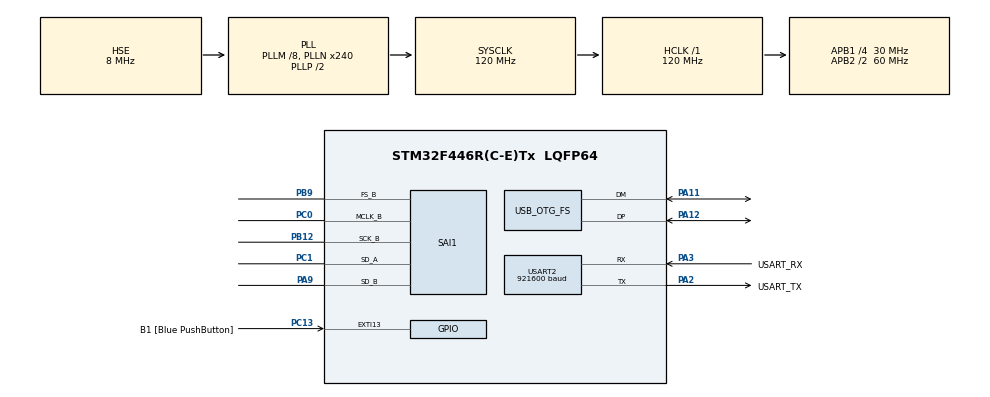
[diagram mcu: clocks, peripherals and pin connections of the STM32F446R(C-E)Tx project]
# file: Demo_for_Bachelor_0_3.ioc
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Dma.Request0=SAI1_A
Dma.Request1=SAI1_B
Dma.SAI1_A.0.Direction=DMA_PERIPH_TO_MEMORY
Dma.SAI1_A.0.FIFOMode=DMA_FIFOMODE_DISABLE
Dma.SAI1_A.0.Instance=DMA2_Stream1
Dma.SAI1_A.0.MemDataAlignment=DMA_MDATAALIGN_HALFWORD
Dma.SAI1_A.0.MemInc=DMA_MINC_ENABLE
Dma.SAI1_A.0.Mode=DMA_CIRCULAR
Dma.SAI1_A.0.PeriphDataAlignment=DMA_PDATAALIGN_HALFWORD
Dma.SAI1_A.0.PeriphInc=DMA_PINC_DISABLE
Dma.SAI1_A.0.Priority=DMA_PRIORITY_LOW
Dma.SAI1_B.1.Direction=DMA_PERIPH_TO_MEMORY
Dma.SAI1_B.1.FIFOMode=DMA_FIFOMODE_DISABLE
Dma.SAI1_B.1.Instance=DMA2_Stream4
Dma.SAI1_B.1.MemDataAlignment=DMA_MDATAALIGN_HALFWORD
Dma.SAI1_B.1.MemInc=DMA_MINC_ENABLE
Dma.SAI1_B.1.Mode=DMA_CIRCULAR
Dma.SAI1_B.1.PeriphDataAlignment=DMA_PDATAALIGN_HALFWORD
Dma.SAI1_B.1.PeriphInc=DMA_PINC_DISABLE
Dma.SAI1_B.1.Priority=DMA_PRIORITY_LOW
Mcu.Family=STM32F4
Mcu.Name=STM32F446R(C-E)Tx
Mcu.Package=LQFP64
NVIC.DMA2_Stream1_IRQn=true\:0\:0\:false\:false\:true\:false\:true\:true
NVIC.DMA2_Stream4_IRQn=true\:0\:0\:false\:false\:true\:false\:true\:true
NVIC.OTG_FS_IRQn=true\:0\:0\:false\:false\:true\:true\:true\:true
NVIC.PriorityGroup=NVIC_PRIORITYGROUP_0
PA11.Mode=Device_Only
PA11.Signal=USB_OTG_FS_DM
PA12.Mode=Device_Only
PA12.Signal=USB_OTG_FS_DP
PA13.GPIO_Label=TMS
PA13.Mode=Serial_Wire
PA13.Signal=SYS_JTMS-SWDIO
PA14.GPIO_Label=TCK
PA14.Mode=Serial_Wire
PA14.Signal=SYS_JTCK-SWCLK
PA2.GPIO_Label=USART_TX
PA2.Mode=Asynchronous
PA2.Signal=USART2_TX
PA3.GPIO_Label=USART_RX
PA3.Mode=Asynchronous
PA3.Signal=USART2_RX
PA9.Mode=SAI_B_MasterWithClock
PA9.Signal=SAI1_SD_B
PB12.Mode=SAI_B_MasterWithClock
PB12.Signal=SAI1_SCK_B
PB3.GPIO_Label=SWO
PB3.Signal=SYS_JTDO-SWO
PB9.Mode=SAI_B_MasterWithClock
PB9.Signal=SAI1_FS_B
PC0.Mode=SAI_B_MasterWithClock
PC0.Signal=SAI1_MCLK_B
PC1.Mode=SAI_A_SyncSlave
PC1.Signal=SAI1_SD_A
PC13.GPIO_Label=B1 [Blue PushButton]
PC13.GPIO_ModeDefaultEXTI=GPIO_MODE_IT_FALLING
PC13.Signal=GPXTI13
PC14-OSC32_IN.Signal=RCC_OSC32_IN
PC15-OSC32_OUT.Signal=RCC_OSC32_OUT
PDM2PCM.CHANNEL1_bit_order=PDM_FILTER_BIT_ORDER_MSB
PDM2PCM.CHANNEL1_in_ptr_channels=1
PDM2PCM.CHANNEL1_out_ptr_channels=1
PDM2PCM.NbCHANNEL=1
PH0-OSC_IN.Mode=HSE-External-Clock-Source
PH0-OSC_IN.Signal=RCC_OSC_IN
PH1-OSC_OUT.Mode=HSE-External-Clock-Source
PH1-OSC_OUT.Signal=RCC_OSC_OUT
ProjectManager.HeapSize=0x200
ProjectManager.StackSize=0x400
ProjectManager.TargetToolchain=STM32CubeIDE
RCC.48MHZClocksFreq_Value=84000000
RCC.AHBFreq_Value=120000000
RCC.APB1CLKDivider=RCC_HCLK_DIV4
RCC.APB1Freq_Value=30000000
RCC.APB1TimFreq_Value=60000000
RCC.APB2CLKDivider=RCC_HCLK_DIV2
RCC.APB2Freq_Value=60000000
RCC.APB2TimFreq_Value=120000000
RCC.CortexFreq_Value=120000000
RCC.FLatency-AdvancedSettings=FLASH_LATENCY_3
RCC.HCLKFreq_Value=120000000
RCC.HSE_VALUE=8000000
RCC.HSI_VALUE=16000000
RCC.PLLM=8
RCC.PLLN=240
RCC.PLLQ=5
RCC.PLLSAIM=8
RCC.SYSCLKFreq_VALUE=120000000
RCC.SYSCLKSource=RCC_SYSCLKSOURCE_PLLCLK
RCC.USBFreq_Value=48000000
RCC.VCOOutputFreq_Value=240000000
SAI1.AudioMode-SAI_B_MasterWithClock=SAI_MODEMASTER_RX
SAI1.ClockStrobing-SAI_B_MasterWithClock=SAI_CLOCKSTROBING_FALLINGEDGE
SAI1.ErrorAudioFreq-SAI_B_MasterWithClock=-2.34 %
SAI1.FrameLength-SAI_A_SyncSlave=16
SAI1.FrameLength-SAI_B_MasterWithClock=16
SAI1.Instance-SAI_A_SyncSlave=SAI$Index_Block_A
SAI1.Instance-SAI_B_MasterWithClock=SAI$Index_Block_B
SAI1.MClockEnable-SAI_B_MasterWithClock=SAI_MASTERCLOCK_ENABLE
SAI1.RealAudioFreq-SAI_B_MasterWithClock=187.5 KHz
SAI1.SlotActive-SAI_A_SyncSlave=0x00000003
SAI1.SlotActive-SAI_B_MasterWithClock=0x00000003
SAI1.SlotNumber-SAI_A_SyncSlave=2
SAI1.SlotNumber-SAI_B_MasterWithClock=2
SAI1.VirtualMode-SAI_A_SyncSlave=VM_SLAVE
SAI1.VirtualMode-SAI_B_MasterWithClock=VM_MASTER
SAI1.VirtualSlotActive-SAI_A_SyncSlave=SAI_SLOT_USERSETTING
SAI1.VirtualSlotActive-SAI_B_MasterWithClock=SAI_SLOT_USERSETTING
SAI1.VirtualSlotActive0-SAI_A_SyncSlave=true
SAI1.VirtualSlotActive0-SAI_B_MasterWithClock=true
SAI1.VirtualSlotActive1-SAI_A_SyncSlave=true
SAI1.VirtualSlotActive1-SAI_B_MasterWithClock=true
USART2.BaudRate=921600
USART2.VirtualMode=VM_ASYNC
USB_DEVICE.CLASS_NAME_FS=CDC
USB_DEVICE.VirtualMode-CDC_FS=Cdc
USB_DEVICE.VirtualModeFS=Cdc_FS
USB_OTG_FS.VirtualMode=Device_Only
VP_CRC_VS_CRC.Mode=CRC_Activate
VP_PDM2PCM_VS_PDM2PCM.Mode=PDM2PCM_Channel
VP_USB_DEVICE_VS_USB_DEVICE_CDC_FS.Mode=CDC_FS
board=NUCLEO-F446RE

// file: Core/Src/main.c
/* USER CODE BEGIN Header */
/**
  ******************************************************************************
  * @file           : main.c
  * @brief          : Main program body
  ******************************************************************************
  * @attention
  *
  * Copyright (c) 2026 STMicroelectronics.
  * All rights reserved.
  *
  * This software is licensed under terms that can be found in the LICENSE file
  * in the root directory of this software component.
  * If no LICENSE file comes with this software, it is provided AS-IS.
  *
  ******************************************************************************
  */
/* USER CODE END Header */
#include "main.h"
#include "pdm2pcm.h"
#include "usb_device.h"

/* USER CODE BEGIN Includes */
#include <string.h>
#include "usbd_cdc_if.h"

//#include "pdm2pcm_glo.h"
/* USER CODE END Includes */

/* USER CODE BEGIN PD */
//#define PDM_BUF_LEN 64 // allocates a buffer in RAM of 256 elemetns of type uint16_t (16-bit per element)
#define OUTPUT_SAMPLES 16 // also for usb
#define PDM_DMA_BYTES 256
#define USB_CHANNELS 4 // change to 4 or 6 later. Depend on the number of mics
//#define PDM_RX_WORDS 128 // must match pdmRxBuf[128] used for UART
/* USER CODE END PD */

CRC_HandleTypeDef hcrc;

SAI_HandleTypeDef hsai_BlockA1;
SAI_HandleTypeDef hsai_BlockB1;
DMA_HandleTypeDef hdma_sai1_a;
DMA_HandleTypeDef hdma_sai1_b;

UART_HandleTypeDef huart2;

/* USER CODE BEGIN PV */

/*
uint8_t pdm_buf[PDM_BUF_LEN];
int16_t pcm_buf_half[OUTPUT_SAMPLES];
int16_t pcm_buf_full[OUTPUT_SAMPLES];
volatile uint8_t pdm_half_ready = 0; // has to use volatilebecause the variable can change at any time outside of the codes control
volatile uint8_t pdm_full_ready = 0;
uint16_t sync = 0xA55A; // marks start of a sequence 5A A5, little endinan, least sig first, Ax16^3 + 5x16^2 + 5x16^1 + Ax16^0 so 5A A5, for msb A5 5A
*/

//volatile uint8_t sai_rxstate = 0;   // 1 = half, 2 = full
//volatile uint8_t sai_pdm12_rxstate = 0;
//volatile uint8_t sai_pdm34_rxstate = 0;
volatile uint8_t sai_pdm12_half_ready = 0;
volatile uint8_t sai_pdm12_full_ready = 0;
volatile uint8_t sai_pdm34_half_ready = 0;
volatile uint8_t sai_pdm34_full_ready = 0;
extern uint8_t CDC_Ready;

//extern volatile uint32_t usb_ok, usb_busy, usb_fail;
volatile uint32_t usb_ok = 0, usb_busy = 0, usb_fail = 0;
//extern PDM_Filter_Handler_t PDM1_filter_handler;
//extern PDM_Filter_Handler_t PDM2_filter_handler;
//extern PDM_Filter_Handler_t PDM3_filter_handler;
//extern PDM_Filter_Handler_t PDM4_filter_handler;

uint16_t pdm12_buf[PDM_DMA_BYTES * 2];   // mics 1,2 // 512 bytes
uint16_t pdm34_buf[PDM_DMA_BYTES * 2];   // mics 3,4
int16_t pcm1[OUTPUT_SAMPLES];
int16_t pcm2[OUTPUT_SAMPLES];
int16_t pcm3[OUTPUT_SAMPLES];
int16_t pcm4[OUTPUT_SAMPLES];
int16_t pcm12[OUTPUT_SAMPLES * 2]; // mic1,2
int16_t pcm34[OUTPUT_SAMPLES * 2]; // mic3,4

//uint16_t txBuf[128];
//uint8_t pdmRxBuf[PDM_DMA_BYTES];
int16_t MidBuffer[16];
//uint8_t txstate = 0;
//uint8_t rxstate = 0;

uint16_t fifobuf[256];
uint8_t fifo_w_ptr = 0;
uint8_t fifo_r_ptr = 0;
uint8_t fifo_read_enabled = 0;
uint8_t usb_tx_buff[2 + OUTPUT_SAMPLES * USB_CHANNELS * 2]; // give an explenation

void FifoWrite(uint16_t data){
	fifobuf[fifo_w_ptr] = data;
	fifo_w_ptr++;
}

uint16_t FifoRead(){
	uint16_t val = fifobuf[fifo_r_ptr];
	fifo_r_ptr++;
	return val;
}
/* USER CODE END PV */

void SystemClock_Config(void);
void PeriphCommonClock_Config(void);
static void MX_GPIO_Init(void);
static void MX_DMA_Init(void);
static void MX_USART2_UART_Init(void);
static void MX_CRC_Init(void);
static void MX_SAI1_Init(void);

/* USER CODE BEGIN 0 */
void USB_Send_PCM_4CH(int16_t *ch1, int16_t *ch2, int16_t *ch3, int16_t *ch4, uint16_t n) //, int16_t *ch3, int16_t *ch4
{
    uint16_t sync = 0xA55A;
    uint16_t idx = 0;

    //HAL_UART_Transmit(&huart2, (uint8_t *)&sync, 2, HAL_MAX_DELAY);
    memcpy(&usb_tx_buff[idx], &sync, 2);
    idx += 2;

    for (uint16_t i = 0; i < n; i++){
    //HAL_UART_Transmit(&huart2, (uint8_t *)&ch1[i], 2, HAL_MAX_DELAY);
    //HAL_UART_Transmit(&huart2, (uint8_t *)&ch2[i], 2, HAL_MAX_DELAY);
    	memcpy(&usb_tx_buff[idx], &ch1[i], 2); // number of bytes = 2, due to the output sample being 16 bit = 2 bytes
    	idx += 2;
    	memcpy(&usb_tx_buff[idx], &ch2[i], 2);
    	idx += 2;
    	memcpy(&usb_tx_buff[idx], &ch3[i], 2);
    	idx += 2;
    	memcpy(&usb_tx_buff[idx], &ch4[i], 2);
    	idx += 2;

    }
    uint8_t r = CDC_Transmit_FS(usb_tx_buff, idx);
    if (r == USBD_OK) {
        usb_ok++;
    } else if (r == USBD_BUSY) {
        usb_busy++;
    } else {
        usb_fail++;
    }
}

// CHANGE THE 4CH as well after checking the 2 ch !!, and add 6 and 8 channel aswell
/*
void UART_Send_PCM_4CH(int16_t *ch1, int16_t *ch2, int16_t *ch3, int16_t *ch4, uint16_t n){
	uint16_t sync = 0xA55A;

	HAL_UART_Transmit(&huart2, (uint8_t *)&sync, 2, HAL_MAX_DELAY);
	for (uint16_t i = 0; i < n; i++){
		HAL_UART_Transmit(&huart2, (uint8_t *)&ch1[i], 2, HAL_MAX_DELAY);
		HAL_UART_Transmit(&huart2, (uint8_t *)&ch2[i], 2, HAL_MAX_DELAY);
		HAL_UART_Transmit(&huart2, (uint8_t *)&ch3[i], 2, HAL_MAX_DELAY);
		HAL_UART_Transmit(&huart2, (uint8_t *)&ch4[i], 2, HAL_MAX_DELAY);
	}
}
*/
/* USER CODE END 0 */

int main(void)
{

  /* MCU Configuration--------------------------------------------------------*/

  /* Reset of all peripherals, Initializes the Flash interface and the Systick. */
  HAL_Init();

  /* Configure the system clock */
  SystemClock_Config();

  /* Configure the peripherals common clocks */
  PeriphCommonClock_Config();

  /* Initialize all configured peripherals */
  MX_GPIO_Init();
  MX_DMA_Init();
  MX_USART2_UART_Init();
  MX_CRC_Init();
  MX_PDM2PCM_Init();
  MX_SAI1_Init();
  MX_USB_DEVICE_Init();
  /* USER CODE BEGIN 2 */

  //const char test_msg[] = "UART_OK\r\n";
  //HAL_UART_Transmit(&huart2, (uint8_t *)test_msg, sizeof(test_msg)-1, HAL_MAX_DELAY);

  //HAL_SAI_Receive_DMA(&hsai_BlockB1, (uint8_t*)pdmRxBuf, PDM_DMA_BYTES); // PDM_RX_WORDS*2
  // just decides the two pdm buffers will receive the data from SAI
  HAL_SAI_Receive_DMA(&hsai_BlockB1, (uint8_t*)pdm12_buf, PDM_DMA_BYTES * 2); // mic1, mic2, mic1, mic2....
  HAL_SAI_Receive_DMA(&hsai_BlockA1, (uint8_t*)pdm34_buf, PDM_DMA_BYTES * 2); // same for 3 and 4

  //HAL_I2S_Transmit_DMA(&hi2s3, &txBuf[0],64);
  //HAL_I2S_Receive_DMA(&hi2s2, &pdmRxBuf[0],64);

  /* USER CODE END 2 */

  /* Infinite loop */
  /* USER CODE BEGIN WHILE */
  while (1)
  {
	  if (sai_pdm12_half_ready && sai_pdm34_half_ready){
		  sai_pdm12_half_ready = 0;
		  sai_pdm34_half_ready= 0;

		  // stream(16bit) : mic1,mic2 ........ until 16th bit

		  uint16_t *pdm12 = &pdm12_buf[0]; // points to the first 16-bit word in pdm12_buf, since uitn16_t is used, by changing the index value, the next value will be moved by 16bit, or 2 bytes
		  uint16_t *pdm34 = &pdm34_buf[0];

		  // since in_ptr_channels = 2, the filter expects signal from to mics in that buffer
		  // Since i am only interested in the values from the first mic
		  PDM_Filter((uint8_t*)&pdm12[0], pcm1, &PDM1_filter_handler); // first byte is supposed to come from mic1 and the next one from mic2
		  PDM_Filter((uint8_t*)&pdm12[1], pcm2, &PDM2_filter_handler); // has to use the word offset,

		  PDM_Filter((uint8_t*)&pdm34[0], pcm3, &PDM3_filter_handler);
		  PDM_Filter((uint8_t*)&pdm34[1], pcm4, &PDM4_filter_handler);
		  //UART_Send_PCM_4CH(pcm1,pcm2,pcm3, pcm4, OUTPUT_SAMPLES);

		  //PDM_Filter(pdm12, pcm1, &PDM1_filter_handler);
		  //PDM_Filter(pdm34, pcm4, &PDM1_filter_handler);
		  if (CDC_Ready){
			  USB_Send_PCM_4CH(pcm1,pcm2,pcm3, pcm4, OUTPUT_SAMPLES);
		  }
	  }

	  if (sai_pdm12_full_ready && sai_pdm34_full_ready){
		  sai_pdm12_full_ready = 0;
		  sai_pdm34_full_ready = 0;

		  uint16_t *pdm12 = &pdm12_buf[PDM_DMA_BYTES];
		  uint16_t *pdm34 = &pdm34_buf[PDM_DMA_BYTES];

		  PDM_Filter((uint8_t*)&pdm12[0], pcm1, &PDM1_filter_handler); // first byte is supposed to come from mic1 and the next one from mic2
		  PDM_Filter((uint8_t*)&pdm12[1], pcm2, &PDM2_filter_handler);

		  PDM_Filter((uint8_t*)&pdm34[0], pcm3, &PDM3_filter_handler);
		  PDM_Filter((uint8_t*)&pdm34[1], pcm4, &PDM4_filter_handler);
	      //UART_Send_PCM_4CH(pcm1,pcm2,pcm3, pcm4, OUTPUT_SAMPLES);
		  //PDM_Filter(pdm12, pcm1, &PDM1_filter_handler);
		  //PDM_Filter(pdm34, pcm4, &PDM1_filter_handler);
	      if (CDC_Ready){
	    	  USB_Send_PCM_4CH(pcm1,pcm2,pcm3, pcm4, OUTPUT_SAMPLES);
	      }

	      //HAL_Delay(1); // keep it?

	  }
/*
	  if (sai_pdm34_rxstate == 1){
	  		sai_pdm34_rxstate = 0;

	  		PDM_Filter((uint8_t*)&pdm34_buf[0], pcm3, &PDM3_filter_handler);
	  		PDM_Filter((uint8_t*)&pdm34_buf[0], pcm4, &PDM4_filter_handler);
	  		UART_Send_PCM_2CH(pcm3, pcm4, 16);

	  	  }
	  if (sai_pdm34_rxstate == 2){
		  sai_pdm34_rxstate = 0;

		  PDM_Filter((uint8_t*)&pdm34_buf[PDM_DMA_BYTES], pcm3, &PDM3_filter_handler);
	      PDM_Filter((uint8_t*)&pdm34_buf[PDM_DMA_BYTES], pcm4, &PDM4_filter_handler);
	      UART_Send_PCM_2CH(pcm3, pcm4, 16);
	      }
*/

	  // Synthetic data
	 /* static uint32_t t = 0;
	  if (HAL_GetTick() - t > 1000) {
	      t = HAL_GetTick();
	      int16_t test[4] = {1000, -1000, 500, -500};
	      UART_Send_PCM_Frame(test, 4);
	  }
*/
/*// One mic
	  if (sai_rxstate ==1){
		  sai_rxstate = 0;
		  PDM_Filter(&pdmRxBuf[0], (uint16_t*)MidBuffer, &PDM1_filter_handler);
		  UART_Send_PCM_Frame(MidBuffer, 16);
		  //for (int i=0; i<16; i++){FifoWrite(MidBuffer[i]);}
		  //if (fifo_w_ptr-fifo_r_ptr > 128) fifo_read_enabled = 1;

	  }

	  if (sai_rxstate ==2){
		  sai_rxstate = 0;
		  PDM_Filter(&pdmRxBuf[PDM_DMA_BYTES/2], (uint16_t*)MidBuffer, &PDM1_filter_handler);
	  		  //PDM_Filter(&pdmRxBuf[64], &MidBuffer[0], &PDM1_filter_handler);
		  UART_Send_PCM_Frame(MidBuffer, 16);
	  		  //for (int i=0; i<16; i++){FifoWrite(MidBuffer[i]);}

	  }
	  */

	  /*
	  if (txstate ==1){
	  		  if (fifo_read_enabled == 1){
	  			  for (int i=0; i<64; i=i+4){
	  				  uint16_t data = FifoRead();
	  				  txBuf[i] = data;
	  				  txBuf[i+2] = data;

	  		  }

	  	  }
	  		  txstate = 0;
	  }
	  if (txstate ==2){
	  	  		  if (fifo_read_enabled == 1){
	  	  			  for (int i=64; i<128; i=i+4){
	  	  				  uint16_t data = FifoRead();
	  	  				  txBuf[i] = data;
	  	  				  txBuf[i+2] = data;

	  	  		  }

	  	  	  }
	  	  		  txstate = 0;
	  	  }
	  	  */

    /* USER CODE END WHILE */

  }
}

void SystemClock_Config(void)
{
  RCC_OscInitTypeDef RCC_OscInitStruct = {0};
  RCC_ClkInitTypeDef RCC_ClkInitStruct = {0};

  /** Configure the main internal regulator output voltage
  */
  __HAL_RCC_PWR_CLK_ENABLE();
  __HAL_PWR_VOLTAGESCALING_CONFIG(PWR_REGULATOR_VOLTAGE_SCALE3);

  /** Initializes the RCC Oscillators according to the specified parameters
  * in the RCC_OscInitTypeDef structure.
  */
  RCC_OscInitStruct.OscillatorType = RCC_OSCILLATORTYPE_HSE;
  RCC_OscInitStruct.HSEState = RCC_HSE_BYPASS;
  RCC_OscInitStruct.PLL.PLLState = RCC_PLL_ON;
  RCC_OscInitStruct.PLL.PLLSource = RCC_PLLSOURCE_HSE;
  RCC_OscInitStruct.PLL.PLLM = 8;
  RCC_OscInitStruct.PLL.PLLN = 240;
  RCC_OscInitStruct.PLL.PLLP = RCC_PLLP_DIV2;
  RCC_OscInitStruct.PLL.PLLQ = 5;
  RCC_OscInitStruct.PLL.PLLR = 2;
  if (HAL_RCC_OscConfig(&RCC_OscInitStruct) != HAL_OK)
  {
    Error_Handler();
  }

  /** Initializes the CPU, AHB and APB buses clocks
  */
  RCC_ClkInitStruct.ClockType = RCC_CLOCKTYPE_HCLK|RCC_CLOCKTYPE_SYSCLK
                              |RCC_CLOCKTYPE_PCLK1|RCC_CLOCKTYPE_PCLK2;
  RCC_ClkInitStruct.SYSCLKSource = RCC_SYSCLKSOURCE_PLLCLK;
  RCC_ClkInitStruct.AHBCLKDivider = RCC_SYSCLK_DIV1;
  RCC_ClkInitStruct.APB1CLKDivider = RCC_HCLK_DIV4;
  RCC_ClkInitStruct.APB2CLKDivider = RCC_HCLK_DIV2;

  if (HAL_RCC_ClockConfig(&RCC_ClkInitStruct, FLASH_LATENCY_3) != HAL_OK)
  {
    Error_Handler();
  }
}

void PeriphCommonClock_Config(void)
{
  RCC_PeriphCLKInitTypeDef PeriphClkInitStruct = {0};

  /** Initializes the peripherals clock
  */
  PeriphClkInitStruct.PeriphClockSelection = RCC_PERIPHCLK_SAI1;
  PeriphClkInitStruct.PLLSAI.PLLSAIM = 8;
  PeriphClkInitStruct.PLLSAI.PLLSAIN = 192;
  PeriphClkInitStruct.PLLSAI.PLLSAIQ = 2;
  PeriphClkInitStruct.PLLSAI.PLLSAIP = RCC_PLLSAIP_DIV2;
  PeriphClkInitStruct.PLLSAIDivQ = 1;
  PeriphClkInitStruct.Sai1ClockSelection = RCC_SAI1CLKSOURCE_PLLSAI;
  if (HAL_RCCEx_PeriphCLKConfig(&PeriphClkInitStruct) != HAL_OK)
  {
    Error_Handler();
  }
}

static void MX_CRC_Init(void)
{

  hcrc.Instance = CRC;
  if (HAL_CRC_Init(&hcrc) != HAL_OK)
  {
    Error_Handler();
  }
  __HAL_CRC_DR_RESET(&hcrc);

}

static void MX_SAI1_Init(void)
{

  hsai_BlockA1.Instance = SAI1_Block_A;
  hsai_BlockA1.Init.Protocol = SAI_FREE_PROTOCOL;
  hsai_BlockA1.Init.AudioMode = SAI_MODESLAVE_RX;
  hsai_BlockA1.Init.DataSize = SAI_DATASIZE_8;
  hsai_BlockA1.Init.FirstBit = SAI_FIRSTBIT_MSB;
  hsai_BlockA1.Init.ClockStrobing = SAI_CLOCKSTROBING_FALLINGEDGE;
  hsai_BlockA1.Init.Synchro = SAI_SYNCHRONOUS;
  hsai_BlockA1.Init.OutputDrive = SAI_OUTPUTDRIVE_DISABLE;
  hsai_BlockA1.Init.FIFOThreshold = SAI_FIFOTHRESHOLD_EMPTY;
  hsai_BlockA1.Init.SynchroExt = SAI_SYNCEXT_DISABLE;
  hsai_BlockA1.Init.MonoStereoMode = SAI_STEREOMODE;
  hsai_BlockA1.Init.CompandingMode = SAI_NOCOMPANDING;
  hsai_BlockA1.Init.TriState = SAI_OUTPUT_NOTRELEASED;
  hsai_BlockA1.FrameInit.FrameLength = 16;
  hsai_BlockA1.FrameInit.ActiveFrameLength = 1;
  hsai_BlockA1.FrameInit.FSDefinition = SAI_FS_STARTFRAME;
  hsai_BlockA1.FrameInit.FSPolarity = SAI_FS_ACTIVE_LOW;
  hsai_BlockA1.FrameInit.FSOffset = SAI_FS_FIRSTBIT;
  hsai_BlockA1.SlotInit.FirstBitOffset = 0;
  hsai_BlockA1.SlotInit.SlotSize = SAI_SLOTSIZE_DATASIZE;
  hsai_BlockA1.SlotInit.SlotNumber = 2;
  hsai_BlockA1.SlotInit.SlotActive = 0x00000003;
  if (HAL_SAI_Init(&hsai_BlockA1) != HAL_OK)
  {
    Error_Handler();
  }
  hsai_BlockB1.Instance = SAI1_Block_B;
  hsai_BlockB1.Init.Protocol = SAI_FREE_PROTOCOL;
  hsai_BlockB1.Init.AudioMode = SAI_MODEMASTER_RX;
  hsai_BlockB1.Init.DataSize = SAI_DATASIZE_8;
  hsai_BlockB1.Init.FirstBit = SAI_FIRSTBIT_MSB;
  hsai_BlockB1.Init.ClockStrobing = SAI_CLOCKSTROBING_FALLINGEDGE;
  hsai_BlockB1.Init.Synchro = SAI_ASYNCHRONOUS;
  hsai_BlockB1.Init.OutputDrive = SAI_OUTPUTDRIVE_DISABLE;
  hsai_BlockB1.Init.NoDivider = SAI_MASTERDIVIDER_ENABLE;
  hsai_BlockB1.Init.FIFOThreshold = SAI_FIFOTHRESHOLD_EMPTY;
  hsai_BlockB1.Init.ClockSource = SAI_CLKSOURCE_NA;
  hsai_BlockB1.Init.AudioFrequency = SAI_AUDIO_FREQUENCY_192K;
  hsai_BlockB1.Init.SynchroExt = SAI_SYNCEXT_DISABLE;
  hsai_BlockB1.Init.MonoStereoMode = SAI_STEREOMODE;
  hsai_BlockB1.Init.CompandingMode = SAI_NOCOMPANDING;
  hsai_BlockB1.FrameInit.FrameLength = 16;
  hsai_BlockB1.FrameInit.ActiveFrameLength = 1;
  hsai_BlockB1.FrameInit.FSDefinition = SAI_FS_STARTFRAME;
  hsai_BlockB1.FrameInit.FSPolarity = SAI_FS_ACTIVE_LOW;
  hsai_BlockB1.FrameInit.FSOffset = SAI_FS_FIRSTBIT;
  hsai_BlockB1.SlotInit.FirstBitOffset = 0;
  hsai_BlockB1.SlotInit.SlotSize = SAI_SLOTSIZE_DATASIZE;
  hsai_BlockB1.SlotInit.SlotNumber = 2;
  hsai_BlockB1.SlotInit.SlotActive = 0x00000003;
  if (HAL_SAI_Init(&hsai_BlockB1) != HAL_OK)
  {
    Error_Handler();
  }

}

static void MX_USART2_UART_Init(void)
{

  huart2.Instance = USART2;
  huart2.Init.BaudRate = 921600;
  huart2.Init.WordLength = UART_WORDLENGTH_8B;
  huart2.Init.StopBits = UART_STOPBITS_1;
  huart2.Init.Parity = UART_PARITY_NONE;
  huart2.Init.Mode = UART_MODE_TX_RX;
  huart2.Init.HwFlowCtl = UART_HWCONTROL_NONE;
  huart2.Init.OverSampling = UART_OVERSAMPLING_16;
  if (HAL_UART_Init(&huart2) != HAL_OK)
  {
    Error_Handler();
  }

}

static void MX_DMA_Init(void)
{

  /* DMA controller clock enable */
  __HAL_RCC_DMA2_CLK_ENABLE();

  /* DMA interrupt init */
  /* DMA2_Stream1_IRQn interrupt configuration */
  HAL_NVIC_SetPriority(DMA2_Stream1_IRQn, 0, 0);
  HAL_NVIC_EnableIRQ(DMA2_Stream1_IRQn);
  /* DMA2_Stream4_IRQn interrupt configuration */
  HAL_NVIC_SetPriority(DMA2_Stream4_IRQn, 0, 0);
  HAL_NVIC_EnableIRQ(DMA2_Stream4_IRQn);

}

static void MX_GPIO_Init(void)
{
  GPIO_InitTypeDef GPIO_InitStruct = {0};

  /* GPIO Ports Clock Enable */
  __HAL_RCC_GPIOC_CLK_ENABLE();
  __HAL_RCC_GPIOH_CLK_ENABLE();
  __HAL_RCC_GPIOA_CLK_ENABLE();
  __HAL_RCC_GPIOB_CLK_ENABLE();

  /*Configure GPIO pin : B1_Pin */
  GPIO_InitStruct.Pin = B1_Pin;
  GPIO_InitStruct.Mode = GPIO_MODE_IT_FALLING;
  GPIO_InitStruct.Pull = GPIO_NOPULL;
  HAL_GPIO_Init(B1_GPIO_Port, &GPIO_InitStruct);

}

/* USER CODE BEGIN 4 */

//Stops the other processes, so do not process and transmit the data here, do it in main instead, only stick to the flags here !
/*
void HAL_SAI_RxHalfCpltCallback(SAI_HandleTypeDef *hsai) // triggers when DMA has filled the first half of the circular buffer
{
	if (hsai == &hsai_BlockB1){ // will be needed when more SAI instances will be used
		pdm_half_ready = 1;
	}
}

void HAL_SAI_RxCpltCallback(SAI_HandleTypeDef *hsai){
	if (hsai == &hsai_BlockB1){
		pdm_full_ready = 1;
	}
}
*/
/*
void HAL_SAI_RxHalfCpltCallback(SAI_HandleTypeDef *hsai)
{
        sai_rxstate = 1;
}

void HAL_SAI_RxCpltCallback(SAI_HandleTypeDef *hsai)
{
        sai_rxstate = 2;
}
*/

void HAL_SAI_RxHalfCpltCallback(SAI_HandleTypeDef *hsai){
	if (hsai == &hsai_BlockB1){
		sai_pdm12_half_ready = 1;
	}
	if (hsai == &hsai_BlockA1){
		sai_pdm34_half_ready = 1;
	}
}

void HAL_SAI_RxCpltCallback(SAI_HandleTypeDef *hsai){
	if (hsai == &hsai_BlockB1){
		sai_pdm12_full_ready = 1;
	}
	if (hsai == &hsai_BlockA1){
		sai_pdm34_full_ready = 1;
	}
}

/* USER CODE END 4 */

void Error_Handler(void)
{
  __disable_irq();
  while (1)
  {
  }
}
